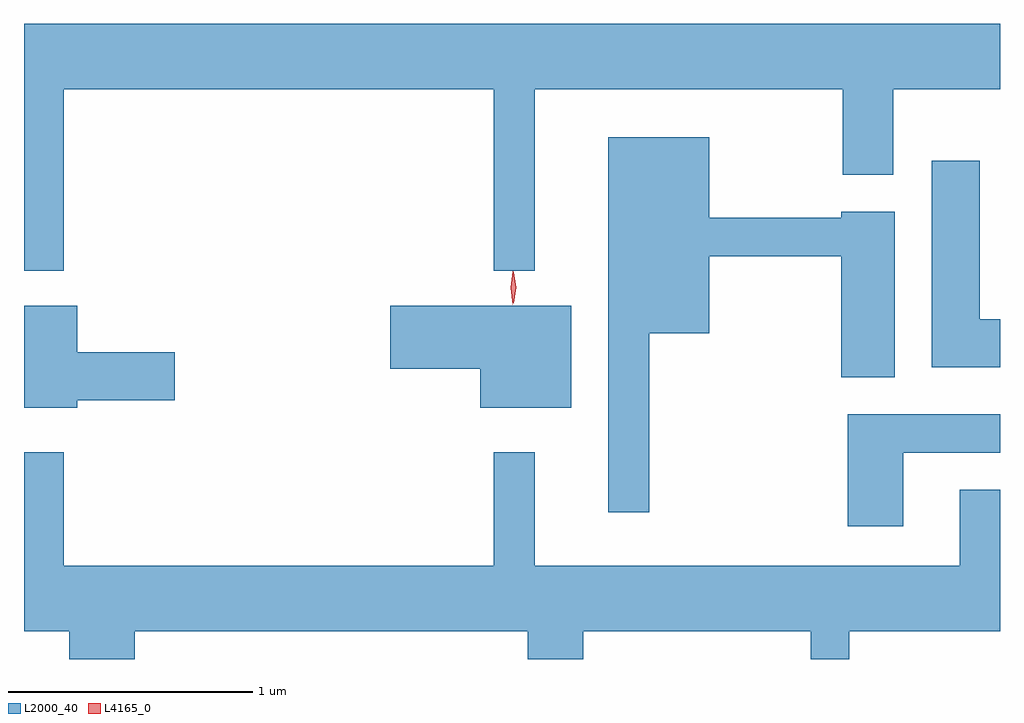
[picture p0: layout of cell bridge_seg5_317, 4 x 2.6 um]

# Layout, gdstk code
import gdstk
lib = gdstk.Library(unit=1e-6, precision=1e-09)
def P(c, l, *ps):  # polygons
    for p in ps: c.add(gdstk.Polygon(p, *l))
L2000_40 = (2000, 40)
L4165_0 = (4165, 0)

bridge_seg5_317 = lib.new_cell('bridge_seg5_317')
P(bridge_seg5_317, L2000_40, [(667.209,1421.276),(668.971,1421.276),(668.971,1420.533),(669.139,1420.533),(669.139,1421.276),(670.401,1421.276),(670.401,1420.926),(670.609,1420.926),(670.609,1421.276),(671.046,1421.276),(671.046,1421.544),(667.046,1421.544),(667.046,1420.533),(667.209,1420.533)],
  [(669.609,1420.276),(669.854,1420.276),(669.854,1420.591),(670.396,1420.591),(670.396,1420.096),(670.614,1420.096),(670.614,1420.774),(670.396,1420.774),(670.396,1420.749),(669.854,1420.749),(669.854,1421.079),(669.441,1421.079),(669.441,1419.543),(669.609,1419.543)],
  [(671.046,1420.334),(670.964,1420.334),(670.964,1420.984),(670.766,1420.984),(670.766,1420.136),(671.046,1420.136)],
  [(669.289,1420.389),(668.546,1420.389),(668.546,1420.131),(668.916,1420.131),(668.916,1419.971),(669.289,1419.971)],
  [(667.264,1420.001),(667.664,1420.001),(667.664,1420.199),(667.264,1420.199),(667.264,1420.389),(667.046,1420.389),(667.046,1419.971),(667.264,1419.971)],
  [(670.649,1419.786),(671.046,1419.786),(671.046,1419.944),(670.421,1419.944),(670.421,1419.486),(670.649,1419.486)],
  [(667.499,1419.056),(669.111,1419.056),(669.111,1418.941),(669.339,1418.941),(669.339,1419.056),(670.271,1419.056),(670.271,1418.941),(670.429,1418.941),(670.429,1419.056),(671.046,1419.056),(671.046,1419.634),(670.881,1419.634),(670.881,1419.324),(669.139,1419.324),(669.139,1419.788),(668.971,1419.788),(668.971,1419.324),(667.209,1419.324),(667.209,1419.788),(667.046,1419.788),(667.046,1419.056),(667.231,1419.056),(667.231,1418.941),(667.499,1418.941)])
P(bridge_seg5_317, L4165_0, [(669.053,1420.4),(669.053,1420.4),(669.043,1420.464),(669.053,1420.526),(669.053,1420.527),(669.054,1420.526),(669.063,1420.464),(669.054,1420.4)],
  [(669.049,1420.394),(669.049,1420.394),(669.04,1420.462),(669.05,1420.53),(669.051,1420.53),(669.052,1420.53),(669.06,1420.462),(669.05,1420.394)])

lib.write_gds('bridge_seg5_317.gds')
